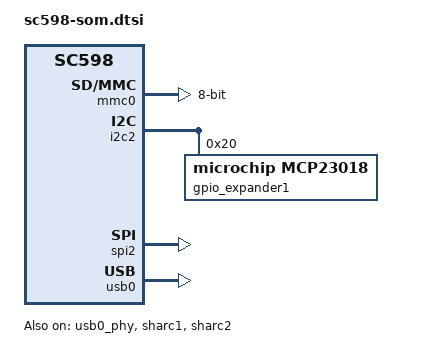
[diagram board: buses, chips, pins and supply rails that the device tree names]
// SPDX-License-Identifier: GPL-2.0-or-later
/*
 * (C) Copyright 2022 - Analog Devices, Inc.
 *
 * Written and/or maintained by Timesys Corporation
 *
 * Contact: Nathan Barrett-Morrison <nathan.morrison@timesys.com>
 * Contact: Greg Malysa <greg.malysa@timesys.com>
 */

/dts-v1/;

#include "sc5xx.dtsi"
#include "sc59x.dtsi"

/ {
	soc {
		sharc1: sharc@0x28240000 {
			compatible = "adi,sc5xx-rproc";
			reg = <0x28240000 0x100>;
			status = "okay";
			adi,coreid = <1>;
			adi,rcu-reg = <0x3108c000>;
		};

		sharc2: sharc@0x28a40000 {
			compatible = "adi,sc5xx-rproc";
			reg = <0x28a40000 0x100>;
			status = "okay";
			adi,coreid = <2>;
			adi,rcu-reg = <0x3108c000>;
		};

		clocks {
			compatible = "simple-bus";
			#address-cells = <1>;
			#size-cells = <0>;
			u-boot,dm-pre-reloc;

			emmcclk: emmcclk@0 {
				compatible = "fixed-clock";
				reg = <0>;
				#clock-cells = <0>;
				clock-frequency = <50000000>; /* 50 MHz */
				u-boot,dm-pre-reloc;
			};
		};

		mmc0: mmc@310C7000 {
			compatible = "designware,sdhci-5.1";
			reg = <0x310C7000 0x1000>;
			interrupts = <GIC_SPI 237 IRQ_TYPE_LEVEL_HIGH>;
			pinctrl-names = "default";
			pinctrl-0 = <&mmc_defaults>;
			clocks = <&emmcclk>;
			clock-names = "core";
			max-frequency = <50000000>;
			bus-width = <8>;
			u-boot,dm-pre-reloc;
		};
	};
};

&pinctrl0 {
	soc_defaults: soc_pins {
		u-boot,dm-pre-reloc;
		adi,pins = <ADI_ADSP_PIN('A', 14) ADI_ADSP_PINFUNC_ALT0>, /* i2c */
					<ADI_ADSP_PIN('A', 15) ADI_ADSP_PINFUNC_ALT0>;
	};

	mmc_defaults: mmc_pins {
		u-boot,dm-pre-reloc;
		adi,pins = <ADI_ADSP_PIN('D', 15) ADI_ADSP_PINFUNC_ALT1>,
					<ADI_ADSP_PIN('B', 15) ADI_ADSP_PINFUNC_ALT2>,
					<ADI_ADSP_PIN('C', 4) ADI_ADSP_PINFUNC_ALT2>,
					<ADI_ADSP_PIN('C', 6) ADI_ADSP_PINFUNC_ALT2>,
					<ADI_ADSP_PIN('E', 1) ADI_ADSP_PINFUNC_ALT1>,
					<ADI_ADSP_PIN('E', 6) ADI_ADSP_PINFUNC_ALT2>,
					<ADI_ADSP_PIN('E', 8) ADI_ADSP_PINFUNC_ALT1>,
					<ADI_ADSP_PIN('E', 9) ADI_ADSP_PINFUNC_ALT1>,
					<ADI_ADSP_PIN('G', 1) ADI_ADSP_PINFUNC_ALT2>,
					<ADI_ADSP_PIN('G', 2) ADI_ADSP_PINFUNC_ALT2>,
					<ADI_ADSP_PIN('G', 8) ADI_ADSP_PINFUNC_ALT1>,
					<ADI_ADSP_PIN('G', 9) ADI_ADSP_PINFUNC_ALT3>,
					<ADI_ADSP_PIN('G', 10) ADI_ADSP_PINFUNC_ALT1>,
					<ADI_ADSP_PIN('I', 6) ADI_ADSP_PINFUNC_ALT1>;
	};

	ospi_default: ospi_pins {
		u-boot,dm-pre-reloc;
		adi,pins = <ADI_ADSP_PIN('A', 0) ADI_ADSP_PINFUNC_ALT1>,
					<ADI_ADSP_PIN('A', 1) ADI_ADSP_PINFUNC_ALT1>,
					<ADI_ADSP_PIN('A', 2) ADI_ADSP_PINFUNC_ALT1>,
					<ADI_ADSP_PIN('A', 3) ADI_ADSP_PINFUNC_ALT1>,
					<ADI_ADSP_PIN('A', 4) ADI_ADSP_PINFUNC_ALT1>,
					<ADI_ADSP_PIN('A', 5) ADI_ADSP_PINFUNC_ALT1>,
					<ADI_ADSP_PIN('A', 6) ADI_ADSP_PINFUNC_ALT2>,
					<ADI_ADSP_PIN('A', 7) ADI_ADSP_PINFUNC_ALT2>,
					<ADI_ADSP_PIN('A', 8) ADI_ADSP_PINFUNC_ALT2>,
					<ADI_ADSP_PIN('A', 9) ADI_ADSP_PINFUNC_ALT2>,
					<ADI_ADSP_PIN('D', 4) ADI_ADSP_PINFUNC_ALT2>;
	};
};

&clk{
	compatible = "adi,sc598-clocks";
	reg = <0x3108d000 0x1000>,
			<0x3108e000 0x1000>,
			<0x3108f000 0x1000>,
			<0x310a9000 0x1000>;
	reg-names = "cgu0", "cgu1", "cdu", "pll3";
};

&uart0{
	clocks = <&clk ADSP_SC598_CLK_CGU0_SCLK0>;
};

&wdog{
	clocks = <&clk ADSP_SC598_CLK_CGU0_SCLK0>;
};

&i2c0{
	clocks = <&clk ADSP_SC598_CLK_CGU0_SCLK0>;
};

&i2c1{
	clocks = <&clk ADSP_SC598_CLK_CGU0_SCLK0>;
};

&i2c2{
	clocks = <&clk ADSP_SC598_CLK_CGU0_SCLK0>;

	gpio_expander1: mcp23018@20 {
		compatible = "microchip,mcp23018";
		reg = <0x20>;
		gpio-controller;
		#gpio-cells = <2>;
		u-boot,dm-pre-reloc;
		drive-pullups;

		led1 {
			gpio-hog;
			gpios = <0 GPIO_ACTIVE_HIGH>;
			output-low;
			line-name = "led1-en";
			u-boot,dm-pre-reloc;
		};

		led2 {
			gpio-hog;
			gpios = <1 GPIO_ACTIVE_HIGH>;
			output-low;
			line-name = "led2-en";
			u-boot,dm-pre-reloc;
		};

		led3 {
			gpio-hog;
			gpios = <2 GPIO_ACTIVE_HIGH>;
			output-low;
			line-name = "led3-en";
			u-boot,dm-pre-reloc;
		};

		spi2d2-d3 {
			gpio-hog;
			gpios = <3 GPIO_ACTIVE_HIGH>;
			output-low;
			line-name = "~spi2d2-d3-en";
			u-boot,dm-pre-reloc;
		};

		spi2flash-cs {
			gpio-hog;
			gpios = <4 GPIO_ACTIVE_HIGH>;
			output-low;
			line-name = "~spi2flash-cs";
			u-boot,dm-pre-reloc;
		};

		uart0 {
			gpio-hog;
			gpios = <5 GPIO_ACTIVE_HIGH>;
			output-low;
			line-name = "~uart0-en";
			u-boot,dm-pre-reloc;
		};

		uart0-flow-en {
			gpio-hog;
			gpios = <6 GPIO_ACTIVE_HIGH>;
			output-high;
			line-name = "~uart0-flow-en";
			u-boot,dm-pre-reloc;
		};

		emmc {
			gpio-hog;
			gpios = <8 GPIO_ACTIVE_HIGH>;
			output-low;
			line-name = "emmc-en";
			u-boot,dm-pre-reloc;
		};

		emmc-som-en {
			gpio-hog;
			gpios = <9 GPIO_ACTIVE_HIGH>;
			output-high;
			line-name = "emmc-som-en";
			u-boot,dm-pre-reloc;
		};
	};
};

&spi2 {
	status = "okay";

	clocks = <&clk ADSP_SC598_CLK_SPI>;
};

&mmc0 {
	status = "okay";
};

&usb0_phy {
	status = "okay";
};

&usb0 {
	status = "okay";
};

&eth0 {
	compatible = "snps,dwmac-5.20";
};

&timer0 {
	clocks = <&clk ADSP_SC598_CLK_CGU0_SCLK0>;
};
